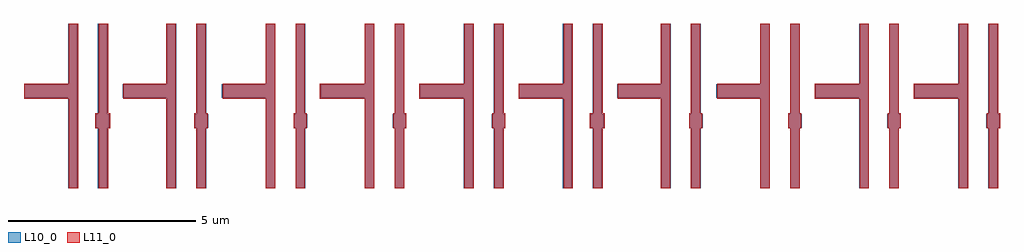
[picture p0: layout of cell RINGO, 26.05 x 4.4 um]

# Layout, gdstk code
import gdstk
lib = gdstk.Library(unit=1e-6, precision=1e-09)
def R(c, l, rs):  # rectangles x0, y0, x1, y1
    for r in rs: c.add(gdstk.rectangle(r[:2], r[2:], *l))
def A(c, l, x, y, w, h, nx, ny, dx, dy):  # array of equal rectangles
    R(c, l, [(x+i*dx, y+j*dy, x+i*dx+w, y+j*dy+h) for i in range(nx) for j in range(ny)])
def P(c, l, *ps):  # polygons
    for p in ps: c.add(gdstk.Polygon(p, *l))
L10_0 = (10, 0)
L11_0 = (11, 0)

ringo = lib.new_cell('RINGO')
A(ringo, L10_0, 0.22, 0.82, 0.36, 0.36, 10, 1, 2.64, 0)
A(ringo, L10_0, -1.7, 1.62, 1.3, 0.36, 10, 1, 2.64, 0)
R(ringo, L10_0, [(-0.525,-0.25,-0.275,2.25), (0.275,-0.25,0.525,2.25), (2.115,-0.25,2.365,2.25), (2.915,-0.25,3.165,2.25), (4.755,-0.25,5.005,2.25), (5.555,-0.25,5.805,2.25), (7.395,-0.25,7.645,2.25), (8.195,-0.25,8.445,2.25), (10.035,-0.25,10.285,2.25), (10.835,-0.25,11.085,2.25), (12.675,-0.25,12.925,2.25), (13.475,-0.25,13.725,2.25), (15.315,-0.25,15.565,2.25), (16.115,-0.25,16.365,2.25), (17.955,-0.25,18.205,2.25), (18.755,-0.25,19.005,2.25), (20.595,-0.25,20.845,2.25), (21.395,-0.25,21.645,2.25), (23.235,-0.25,23.485,2.25), (24.035,-0.25,24.285,2.25)])
P(ringo, L11_0, [(-0.5,-0.8),(-0.5,1.6),(-1.7,1.6),(-1.7,2),(-0.5,2),(-0.5,3.6),(-0.25,3.6),(-0.25,-0.8)],
  [(0.3,-0.8),(0.3,0.8),(0.2,0.8),(0.2,1.2),(0.3,1.2),(0.3,3.6),(0.55,3.6),(0.55,1.2),(0.6,1.2),(0.6,0.8),(0.55,0.8),(0.55,-0.8)],
  [(2.1,-0.8),(2.1,1.6),(0.95,1.6),(0.95,2),(2.1,2),(2.1,3.6),(2.35,3.6),(2.35,-0.8)],
  [(2.9,-0.8),(2.9,0.8),(2.85,0.8),(2.85,1.2),(2.9,1.2),(2.9,3.6),(3.15,3.6),(3.15,1.2),(3.2,1.2),(3.2,0.8),(3.15,0.8),(3.15,-0.8)],
  [(4.75,-0.8),(4.75,1.6),(3.6,1.6),(3.6,2),(4.75,2),(4.75,3.6),(5,3.6),(5,-0.8)],
  [(5.55,-0.8),(5.55,0.8),(5.5,0.8),(5.5,1.2),(5.55,1.2),(5.55,3.6),(5.8,3.6),(5.8,1.2),(5.85,1.2),(5.85,0.8),(5.8,0.8),(5.8,-0.8)],
  [(7.4,-0.8),(7.4,1.6),(6.2,1.6),(6.2,2),(7.4,2),(7.4,3.6),(7.65,3.6),(7.65,-0.8)],
  [(8.2,-0.8),(8.2,0.8),(8.15,0.8),(8.15,1.2),(8.2,1.2),(8.2,3.6),(8.45,3.6),(8.45,1.2),(8.5,1.2),(8.5,0.8),(8.45,0.8),(8.45,-0.8)],
  [(10.05,-0.8),(10.05,1.6),(8.85,1.6),(8.85,2),(10.05,2),(10.05,3.6),(10.3,3.6),(10.3,-0.8)],
  [(10.85,-0.8),(10.85,0.8),(10.8,0.8),(10.8,1.2),(10.85,1.2),(10.85,3.6),(11.1,3.6),(11.1,1.2),(11.15,1.2),(11.15,0.8),(11.1,0.8),(11.1,-0.8)],
  [(12.7,-0.8),(12.7,1.6),(11.5,1.6),(11.5,2),(12.7,2),(12.7,3.6),(12.95,3.6),(12.95,-0.8)],
  [(13.5,-0.8),(13.5,0.8),(13.4,0.8),(13.4,1.2),(13.5,1.2),(13.5,3.6),(13.75,3.6),(13.75,1.2),(13.8,1.2),(13.8,0.8),(13.75,0.8),(13.75,-0.8)],
  [(15.3,-0.8),(15.3,1.6),(14.15,1.6),(14.15,2),(15.3,2),(15.3,3.6),(15.55,3.6),(15.55,-0.8)],
  [(16.1,-0.8),(16.1,0.8),(16.05,0.8),(16.05,1.2),(16.1,1.2),(16.1,3.6),(16.35,3.6),(16.35,1.2),(16.4,1.2),(16.4,0.8),(16.35,0.8),(16.35,-0.8)],
  [(17.95,-0.8),(17.95,1.6),(16.8,1.6),(16.8,2),(17.95,2),(17.95,3.6),(18.2,3.6),(18.2,-0.8)],
  [(18.75,-0.8),(18.75,0.8),(18.7,0.8),(18.7,1.2),(18.75,1.2),(18.75,3.6),(19,3.6),(19,1.2),(19.05,1.2),(19.05,0.8),(19,0.8),(19,-0.8)],
  [(20.6,-0.8),(20.6,1.6),(19.4,1.6),(19.4,2),(20.6,2),(20.6,3.6),(20.85,3.6),(20.85,-0.8)],
  [(21.4,-0.8),(21.4,0.8),(21.35,0.8),(21.35,1.2),(21.4,1.2),(21.4,3.6),(21.65,3.6),(21.65,1.2),(21.7,1.2),(21.7,0.8),(21.65,0.8),(21.65,-0.8)],
  [(23.25,-0.8),(23.25,1.6),(22.05,1.6),(22.05,2),(23.25,2),(23.25,3.6),(23.5,3.6),(23.5,-0.8)],
  [(24.05,-0.8),(24.05,0.8),(24,0.8),(24,1.2),(24.05,1.2),(24.05,3.6),(24.3,3.6),(24.3,1.2),(24.35,1.2),(24.35,0.8),(24.3,0.8),(24.3,-0.8)])
ringo.add(gdstk.FlexPath([(-0.4,-0.8),(-0.4,0.8)], 0.25, ends="flush", simple_path=True, layer=10, datatype=0))  # L10_0
ringo.add(gdstk.FlexPath([(-0.4,2),(-0.4,3.6)], 0.25, ends="flush", simple_path=True, layer=10, datatype=0))  # L10_0
ringo.add(gdstk.FlexPath([(0.4,0.8),(0.4,-0.8)], 0.25, ends="flush", simple_path=True, layer=10, datatype=0))  # L10_0
ringo.add(gdstk.FlexPath([(0.4,3.6),(0.4,2)], 0.25, ends="flush", simple_path=True, layer=10, datatype=0))  # L10_0
ringo.add(gdstk.FlexPath([(2.24,-0.8),(2.24,0.8)], 0.25, ends="flush", simple_path=True, layer=10, datatype=0))  # L10_0
ringo.add(gdstk.FlexPath([(2.24,2),(2.24,3.6)], 0.25, ends="flush", simple_path=True, layer=10, datatype=0))  # L10_0
ringo.add(gdstk.FlexPath([(3.04,0.8),(3.04,-0.8)], 0.25, ends="flush", simple_path=True, layer=10, datatype=0))  # L10_0
ringo.add(gdstk.FlexPath([(3.04,3.6),(3.04,2)], 0.25, ends="flush", simple_path=True, layer=10, datatype=0))  # L10_0
ringo.add(gdstk.FlexPath([(4.88,-0.8),(4.88,0.8)], 0.25, ends="flush", simple_path=True, layer=10, datatype=0))  # L10_0
ringo.add(gdstk.FlexPath([(4.88,2),(4.88,3.6)], 0.25, ends="flush", simple_path=True, layer=10, datatype=0))  # L10_0
ringo.add(gdstk.FlexPath([(5.68,0.8),(5.68,-0.8)], 0.25, ends="flush", simple_path=True, layer=10, datatype=0))  # L10_0
ringo.add(gdstk.FlexPath([(5.68,3.6),(5.68,2)], 0.25, ends="flush", simple_path=True, layer=10, datatype=0))  # L10_0
ringo.add(gdstk.FlexPath([(7.52,-0.8),(7.52,0.8)], 0.25, ends="flush", simple_path=True, layer=10, datatype=0))  # L10_0
ringo.add(gdstk.FlexPath([(7.52,2),(7.52,3.6)], 0.25, ends="flush", simple_path=True, layer=10, datatype=0))  # L10_0
ringo.add(gdstk.FlexPath([(8.32,0.8),(8.32,-0.8)], 0.25, ends="flush", simple_path=True, layer=10, datatype=0))  # L10_0
ringo.add(gdstk.FlexPath([(8.32,3.6),(8.32,2)], 0.25, ends="flush", simple_path=True, layer=10, datatype=0))  # L10_0
ringo.add(gdstk.FlexPath([(10.16,-0.8),(10.16,0.8)], 0.25, ends="flush", simple_path=True, layer=10, datatype=0))  # L10_0
ringo.add(gdstk.FlexPath([(10.16,2),(10.16,3.6)], 0.25, ends="flush", simple_path=True, layer=10, datatype=0))  # L10_0
ringo.add(gdstk.FlexPath([(10.96,0.8),(10.96,-0.8)], 0.25, ends="flush", simple_path=True, layer=10, datatype=0))  # L10_0
ringo.add(gdstk.FlexPath([(10.96,3.6),(10.96,2)], 0.25, ends="flush", simple_path=True, layer=10, datatype=0))  # L10_0
ringo.add(gdstk.FlexPath([(12.8,-0.8),(12.8,0.8)], 0.25, ends="flush", simple_path=True, layer=10, datatype=0))  # L10_0
ringo.add(gdstk.FlexPath([(12.8,2),(12.8,3.6)], 0.25, ends="flush", simple_path=True, layer=10, datatype=0))  # L10_0
ringo.add(gdstk.FlexPath([(13.6,0.8),(13.6,-0.8)], 0.25, ends="flush", simple_path=True, layer=10, datatype=0))  # L10_0
ringo.add(gdstk.FlexPath([(13.6,3.6),(13.6,2)], 0.25, ends="flush", simple_path=True, layer=10, datatype=0))  # L10_0
ringo.add(gdstk.FlexPath([(15.44,-0.8),(15.44,0.8)], 0.25, ends="flush", simple_path=True, layer=10, datatype=0))  # L10_0
ringo.add(gdstk.FlexPath([(15.44,2),(15.44,3.6)], 0.25, ends="flush", simple_path=True, layer=10, datatype=0))  # L10_0
ringo.add(gdstk.FlexPath([(16.24,0.8),(16.24,-0.8)], 0.25, ends="flush", simple_path=True, layer=10, datatype=0))  # L10_0
ringo.add(gdstk.FlexPath([(16.24,3.6),(16.24,2)], 0.25, ends="flush", simple_path=True, layer=10, datatype=0))  # L10_0
ringo.add(gdstk.FlexPath([(18.08,-0.8),(18.08,0.8)], 0.25, ends="flush", simple_path=True, layer=10, datatype=0))  # L10_0
ringo.add(gdstk.FlexPath([(18.08,2),(18.08,3.6)], 0.25, ends="flush", simple_path=True, layer=10, datatype=0))  # L10_0
ringo.add(gdstk.FlexPath([(18.88,0.8),(18.88,-0.8)], 0.25, ends="flush", simple_path=True, layer=10, datatype=0))  # L10_0
ringo.add(gdstk.FlexPath([(18.88,3.6),(18.88,2)], 0.25, ends="flush", simple_path=True, layer=10, datatype=0))  # L10_0
ringo.add(gdstk.FlexPath([(20.72,-0.8),(20.72,0.8)], 0.25, ends="flush", simple_path=True, layer=10, datatype=0))  # L10_0
ringo.add(gdstk.FlexPath([(20.72,2),(20.72,3.6)], 0.25, ends="flush", simple_path=True, layer=10, datatype=0))  # L10_0
ringo.add(gdstk.FlexPath([(21.52,0.8),(21.52,-0.8)], 0.25, ends="flush", simple_path=True, layer=10, datatype=0))  # L10_0
ringo.add(gdstk.FlexPath([(21.52,3.6),(21.52,2)], 0.25, ends="flush", simple_path=True, layer=10, datatype=0))  # L10_0
ringo.add(gdstk.FlexPath([(23.36,-0.8),(23.36,0.8)], 0.25, ends="flush", simple_path=True, layer=10, datatype=0))  # L10_0
ringo.add(gdstk.FlexPath([(23.36,2),(23.36,3.6)], 0.25, ends="flush", simple_path=True, layer=10, datatype=0))  # L10_0
ringo.add(gdstk.FlexPath([(24.16,0.8),(24.16,-0.8)], 0.25, ends="flush", simple_path=True, layer=10, datatype=0))  # L10_0
ringo.add(gdstk.FlexPath([(24.16,3.6),(24.16,2)], 0.25, ends="flush", simple_path=True, layer=10, datatype=0))  # L10_0

lib.write_gds('RINGO.gds')
